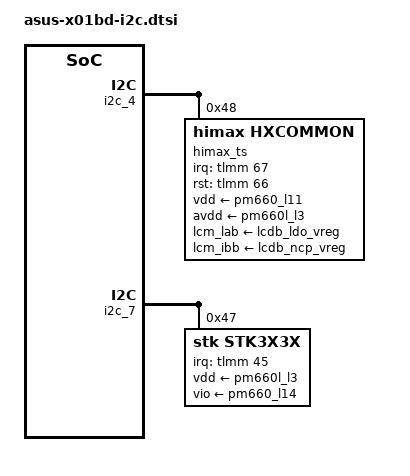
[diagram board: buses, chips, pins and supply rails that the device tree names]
// SPDX-License-Identifier: GPL-2.0
// Copyright (C) 2021 Atom-X-Devs < https://www.github.com/Atom-X-Devs >

&i2c_4 {
	himax_ts@48 {
		compatible = "himax,hxcommon";
		reg = <0x48>;
		interrupt-parent = <&tlmm>;
		interrupts = <67 0x00>;
		vdd-supply = <&pm660_l11>;
		avdd-supply = <&pm660l_l3>;
		lcm_lab-supply = <&lcdb_ldo_vreg>;
		lcm_ibb-supply = <&lcdb_ncp_vreg>;
		pinctrl-names = "pmx_ts_active", "pmx_ts_suspend";
		pinctrl-0 = <&ts_active>;
		pinctrl-1 = <&ts_int_suspend &ts_reset_suspend>;
		himax,panel-coords = <0 1080 0 2280>;
		himax,display-coords = <0 1080 0 2280>;
		himax,irq-gpio = <&tlmm 67 0x00>;
		himax,rst-gpio = <&tlmm 66 0x00>;
		report_type = <1>;
	};
};

&i2c_7 {
	status = "okay";
	stk@47 {
		compatible = "stk,stk3x3x";
		reg = <0x47>;
		interrupt-parent = <&tlmm>;
		interrupts = <45 0x2>;
		vdd-supply = <&pm660l_l3>;
		vio-supply = <&pm660_l14>;
		stk,irq-gpio = <&tlmm 45 0x02>;
		pinctrl-names = "psensor_active", "psensor_suspend";
		pinctrl-0 = <&psensor_int_active>;
		pinctrl-1 = <&psensor_int_suspend>;
		stk,state-reg = <0x0>;
		stk,psctrl-reg = <0xB1>;
		stk,alsctrl-reg = <0x72>;
		stk,ledctrl-reg = <0x60>;
		stk,wait-reg = <0x1F>;
		stk,ps-thdh = <1700>;
		stk,ps-thdl = <1500>;
		stk,transmittance = <1100>;
	};
};
